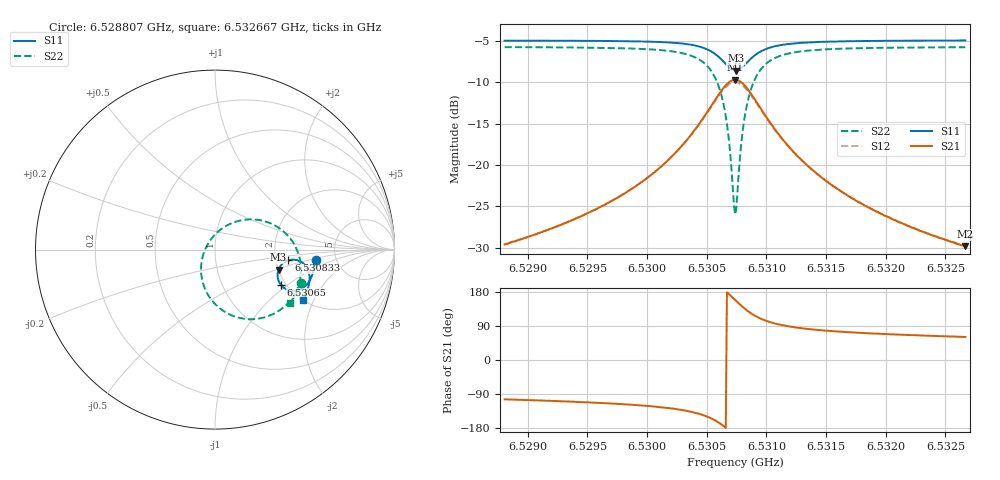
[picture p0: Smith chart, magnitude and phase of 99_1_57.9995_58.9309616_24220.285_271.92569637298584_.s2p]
#  HZ  S  RI  R  50.00
! Rohde & Schwarz Vector Network Analyzer
! Rohde-Schwarz,ZNB20-2Port,1311601062101988,3.16
! Created: UTC 3/21/2024, 12:54:43 AM
! freq[Hz]  re:S11  im:S11  re:S21  im:S21  re:S12  im:S12  re:S22  im:S22
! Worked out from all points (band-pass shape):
!   401 points, 6.528807 GHz to 6.532667 GHz, reference 50 ohm
!   highest |S21| = -9.71 dB at 6.530737 GHz (marker M1); lowest = -29.8 dB at 6.532667 GHz (marker M2)
!   |S21| within 3 dB of the highest: 6.530545 GHz to 6.530931 GHz (386.6 kHz wide, 0.00592 % of centre)
!   lowest |S11| = -8.6 dB at 6.530747 GHz (marker M3), VSWR 2.18, Z = 100 - j25.9 ohm
!   |S11| at or under -10 dB: nowhere
!   |S22| runs from -26.0 to -5.8 dB; largest |S21 - S12| = 0.014
!   S11 on the Smith chart (normalised r, x): 6.528807 GHz: 3.48, -0.56; 6.53065 GHz: 1.88, -0.88; 6.530833 GHz: 2.35, -0.34; 6.532667 GHz: 2.01, -1.66
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6.5288069e9  0.5607 -0.0552  -0.00788 -0.0322  -0.0086 -0.0321  0.4808 -0.1847
6.5294535e9  0.5514 -0.1104  -0.0177 -0.0459  -0.0188 -0.0456  0.4484 -0.2468
6.5298105e9  0.5405 -0.145  -0.0304 -0.0601  -0.0319 -0.0593  0.4148 -0.2908
6.5301e9  0.524 -0.1781  -0.0533 -0.0791  -0.0555 -0.0776  0.3627 -0.3368
6.530322e9  0.4964 -0.2086  -0.0952 -0.1001  -0.0984 -0.0967  0.2776 -0.3772
6.530486e9  0.4508 -0.2287  -0.1677 -0.1078  -0.1703 -0.1006  0.1441 -0.3821
6.5305825e9  0.4034 -0.2232  -0.2418 -0.0807  -0.2411 -0.07  0.0202 -0.3216
6.5306501e9  0.3656 -0.1947  -0.2972 -0.019  -0.2906 -0.0078  -0.0604 -0.2069
6.530679e9  0.354 -0.1732  -0.3119 0.0219  -0.3027 0.0316  -0.0767 -0.1362
6.5307176e9  0.3485 -0.1382  -0.3138 0.0853  -0.3019 0.0915  -0.067 -0.0319
6.5307369e9  0.3513 -0.12  -0.3051 0.1174  -0.2929 0.1212  -0.0468 0.0188
6.5307466e9  0.3541 -0.1112  -0.2986 0.1326  -0.2862 0.1355  -0.033 0.0423
6.5307562e9  0.3578 -0.1028  -0.2904 0.1472  -0.2783 0.1488  -0.0169 0.0644
6.5307948e9  0.3803 -0.0753  -0.2469 0.1938  -0.2366 0.1919  0.0631 0.1325
6.5308334e9  0.4087 -0.0599  -0.1954 0.2192  -0.1877 0.2154  0.153 0.1645
6.530901e9  0.4547 -0.0581  -0.1149 0.2223  -0.1112 0.2187  0.2878 0.1544
6.5309975e9  0.4956 -0.0799  -0.0455 0.1903  -0.0438 0.1881  0.4 0.0839
6.5311422e9  0.5199 -0.1165  -0.00325 0.141  -0.00203 0.1403  0.4623 -0.0162
6.5313835e9  0.5274 -0.1606  0.0151 0.0923  0.0162 0.092  0.4791 -0.1179
6.5317019e9  0.5222 -0.2001  0.0186 0.0612  0.0196 0.0609  0.4687 -0.1908
6.53203e9  0.5128 -0.2314  0.0181 0.0446  0.0188 0.0443  0.4524 -0.2374
6.5326669e9  0.49 -0.2815  0.0157 0.0283  0.0163 0.028  0.4194 -0.2977
